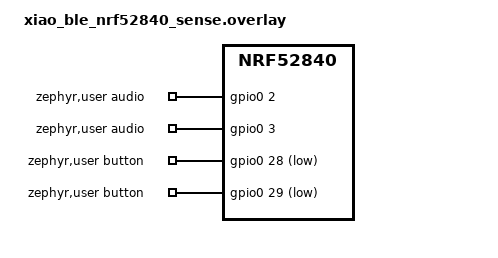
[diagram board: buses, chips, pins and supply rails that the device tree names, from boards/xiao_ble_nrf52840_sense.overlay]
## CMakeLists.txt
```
cmake_minimum_required(VERSION 3.20.0)

# Bluetooth link is on unless -DAT_BLE=OFF.
option(AT_BLE "Include the Bluetooth LE link" ON)
if(AT_BLE)
	list(APPEND EXTRA_CONF_FILE ${CMAKE_CURRENT_LIST_DIR}/ble.conf)
endif()

find_package(Zephyr REQUIRED HINTS $ENV{ZEPHYR_BASE})
project(audiotarget)

target_sources(app PRIVATE
	src/main.c
	src/audio.c
	src/buttons.c
	src/cues.c
	src/fusion.c
	src/imu.c
	src/link.c
	src/mount.c
	src/proto.c
	src/store.c
	src/tonemap.c
)
```

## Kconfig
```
mainmenu "AudioTarget gun module"

menu "AudioTarget"

config AT_LINK_UART
	bool "Wired UART link to the Pi"
	default y
	select SERIAL
	select UART_INTERRUPT_DRIVEN
	help
	  Line protocol over the UART named by the zephyr,user link-uart
	  property. Turn off if you only use Bluetooth: the UART receiver
	  keeps the high-frequency clock running.

config AT_LINK_BLE
	bool "Bluetooth LE link to the Pi (Nordic UART Service)"
	default y
	depends on BT_ZEPHYR_NUS && BT_SMP
	help
	  Encrypted, bonded NUS link. Only bonded devices may connect, except
	  during the pairing window.

config AT_PAIRING_WINDOW_S
	int "Pairing window length (seconds)"
	default 120

config AT_IMU_FWD_AXIS
	int "Sensor axis that points along the barrel (1=X 2=Y 3=Z, negative = reversed)"
	range -3 3
	default 1
	help
	  Default mounting until the audio-guided two-pose calibration has
	  been run (hold both buttons). Calibration overrides this.

config AT_IMU_UP_AXIS
	int "Sensor axis that points up (1=X 2=Y 3=Z, negative = reversed)"
	range -3 3
	default 3

config AT_BASE_NOTE_HZ
	int "Tone played when on target (Hz)"
	default 440

config AT_MDEG_PER_SEMITONE
	int "Vertical error per semitone (millidegrees)"
	range 10 2000
	default 100

config AT_QUANTIZE
	bool "Snap pitch to whole semitones"
	default y

config AT_LINK_LATENCY_MS
	int "Extra link latency added to the camera frame age (ms)"
	default 5
	help
	  Roughly 2-5 ms for UART, 10-30 ms for BLE depending on connection
	  interval.

config AT_IDLE_OFF_MIN
	int "Power off after this many minutes without movement (0 = never)"
	default 10

endmenu

source "Kconfig.zephyr"
```

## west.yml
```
# West manifest: `west init -l firmware && west update` fetches Zephyr and
# only the modules this firmware needs.
manifest:
  remotes:
    - name: zephyrproject-rtos
      url-base: https://github.com/zephyrproject-rtos
  projects:
    - name: zephyr
      remote: zephyrproject-rtos
      revision: v4.5.0
      import:
        name-allowlist:
          - cmsis
          - cmsis_6
          - hal_nordic
          - mbedtls
          - tf-psa-crypto
          - picolibc
```

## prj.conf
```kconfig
# --- core
CONFIG_FPU=y
CONFIG_MAIN_STACK_SIZE=3072
CONFIG_SYSTEM_WORKQUEUE_STACK_SIZE=2048
CONFIG_CBPRINTF_FP_SUPPORT=n
CONFIG_POWEROFF=y
# math functions (sinf, atan2f...) need a full C library
CONFIG_REQUIRES_FULL_LIBC=y

# --- hardware
CONFIG_GPIO=y
CONFIG_I2C=y
CONFIG_SENSOR=y
CONFIG_NRFX_PWM=y

# LSM6DS3TR-C (XIAO Sense): fixed ranges for best resolution, ODR set at runtime
CONFIG_LSM6DSL_ACCEL_FS=2
CONFIG_LSM6DSL_GYRO_FS=250

# --- persistent settings (zero, mount calibration, BLE bonds)
CONFIG_FLASH=y
CONFIG_FLASH_MAP=y
CONFIG_NVS=y
CONFIG_SETTINGS=y
CONFIG_SETTINGS_NVS=y

# --- logging over the USB-C port (only powered while plugged in)
CONFIG_LOG=y
CONFIG_LOG_DEFAULT_LEVEL=2
```

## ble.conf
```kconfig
# Bluetooth LE link to the Pi. Included by default; build with -DAT_BLE=OFF
# for a wired-only image.
CONFIG_BT=y
CONFIG_BT_PERIPHERAL=y
CONFIG_BT_DEVICE_NAME="AudioTarget"
CONFIG_BT_ZEPHYR_NUS=y
CONFIG_BT_SMP=y
CONFIG_BT_SMP_APP_PAIRING_ACCEPT=y
CONFIG_BT_SMP_SC_PAIR_ONLY=y
CONFIG_BT_BONDABLE=y
CONFIG_BT_SETTINGS=y
CONFIG_BT_MAX_CONN=1
CONFIG_BT_MAX_PAIRED=4
CONFIG_BT_KEYS_OVERWRITE_OLDEST=y
CONFIG_BT_PRIVACY=y
CONFIG_BT_L2CAP_TX_MTU=65
CONFIG_BT_BUF_ACL_RX_SIZE=69
CONFIG_BT_BUF_ACL_TX_SIZE=69
CONFIG_BT_GAP_AUTO_UPDATE_CONN_PARAMS=n
```

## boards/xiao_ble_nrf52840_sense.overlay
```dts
/*
 * Seeed XIAO nRF52840 Sense pin assignments.
 *
 *   D0 (P0.02)  audio left   -> RC filter -> headphone jack tip
 *   D1 (P0.03)  audio right  -> RC filter -> headphone jack ring
 *   D2 (P0.28)  ZERO button  -> GND
 *   D3 (P0.29)  MODE button  -> GND (also wakes from power-off)
 *   D6 (P1.11)  UART TX      -> Pi GPIO15 / RXD (header pin 10)
 *   D7 (P1.12)  UART RX      <- Pi GPIO14 / TXD (header pin 8)
 *
 * The IMU is the on-board LSM6DS3TR-C.
 */
#include <zephyr/dt-bindings/gpio/gpio.h>

/ {
	aliases {
		imu0 = &lsm6ds3tr_c;
	};

	zephyr,user {
		audio-gpios = <&gpio0 2 0>, <&gpio0 3 0>;
		button-gpios = <&gpio0 28 (GPIO_PULL_UP | GPIO_ACTIVE_LOW)>,
			       <&gpio0 29 (GPIO_PULL_UP | GPIO_ACTIVE_LOW)>;
		link-uart = <&uart0>;
	};
};

/* PWM1 is driven directly through nrfx for audio; keep Zephyr's driver off it. */
&pwm1 {
	status = "disabled";
};
```

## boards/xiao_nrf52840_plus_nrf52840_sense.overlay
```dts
/*
 * Seeed XIAO nRF52840 Sense Plus pin assignments (board target in Zephyr releases after 4.5:
 * xiao_nrf52840_plus/nrf52840/sense). Same pins as the regular Sense; on
 * Zephyr 4.5 just build for xiao_ble/nrf52840/sense, which runs on the Plus too.
 *
 *   D0 (P0.02)  audio left   -> RC filter -> headphone jack tip
 *   D1 (P0.03)  audio right  -> RC filter -> headphone jack ring
 *   D2 (P0.28)  ZERO button  -> GND
 *   D3 (P0.29)  MODE button  -> GND (also wakes from power-off)
 *   D6 (P1.11)  UART TX      -> Pi GPIO15 / RXD (header pin 10)
 *   D7 (P1.12)  UART RX      <- Pi GPIO14 / TXD (header pin 8)
 *
 * The IMU is the on-board LSM6DS3TR-C.
 */
#include <zephyr/dt-bindings/gpio/gpio.h>

/ {
	aliases {
		imu0 = &lsm6ds3tr_c;
	};

	zephyr,user {
		audio-gpios = <&gpio0 2 0>, <&gpio0 3 0>;
		button-gpios = <&gpio0 28 (GPIO_PULL_UP | GPIO_ACTIVE_LOW)>,
			       <&gpio0 29 (GPIO_PULL_UP | GPIO_ACTIVE_LOW)>;
		link-uart = <&uart0>;
	};
};

/* PWM1 is driven directly through nrfx for audio; keep Zephyr's driver off it. */
&pwm1 {
	status = "disabled";
};
```

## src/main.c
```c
/*
 * AudioTarget gun module: control loop.
 *
 * 100 Hz: read IMU -> fuse with camera samples -> map to tone -> play on the
 * wired output and/or forward to the Pi for Bluetooth playback.
 */
#include <math.h>
#include <string.h>

#include <zephyr/kernel.h>
#include <zephyr/logging/log.h>
#include <zephyr/settings/settings.h>
#include <zephyr/sys/poweroff.h>

#include "audio.h"
#include "buttons.h"
#include "cues.h"
#include "events.h"
#include "fusion.h"
#include "imu.h"
#include "link.h"
#include "mount.h"
#include "proto.h"
#include "store.h"
#include "tonemap.h"

LOG_MODULE_REGISTER(main, LOG_LEVEL_INF);

#define TICK_MS 10
#define TONE_TX_EVERY 4    /* 25 Hz tone updates to the Pi */
#define HELLO_EVERY_MS 2000
#define CAL_TIMEOUT_MS 30000
#define CAL_SETTLE_MS 1500
#define CAL_SAMPLES 100
#define CAL_STILL_RAD_S 0.05f
#define CAL_MIN_RAISE_COS 0.866f /* 30 degrees */

#define ROUTE_WIRED 0x1
#define ROUTE_BT 0x2

K_MSGQ_DEFINE(app_q, sizeof(struct app_evt), 24, 4);

void app_post(const struct app_evt *evt)
{
	(void)k_msgq_put(&app_q, evt, K_NO_WAIT);
}

static const float vol_levels[4] = {0.12f, 0.25f, 0.5f, 1.0f};

enum cal_state { CAL_IDLE, CAL_LEVEL, CAL_RAISED };

static struct {
	enum cal_state state;
	uint32_t started;
	uint32_t step_t0;
	float sum[3];
	int n;
	float level[3];
} cal;

static struct fusion fus;
static struct fusion_cfg fcfg;
static struct mount mnt;
static struct tonemap_cfg tcfg;
static bool muted;
static uint32_t last_activity;

static void send_line(const char *buf, int n)
{
	if (n > 0) {
		link_send(buf, (size_t)n);
	}
}

static void send_status(void)
{
	char buf[PROTO_MAX_LINE];

	send_line(buf, proto_fmt_hello(buf, sizeof(buf)));
	send_line(buf, proto_fmt_route(buf, sizeof(buf), g_store.route));
}

static void reset_tilt(void)
{
	struct fusion_zero keep = fus.zero;

	fusion_init(&fus, &fcfg);
	fus.zero = keep;
	fus.zero.tilt_valid = false; /* tilt zero belongs to the old mount */
}

static void handle_line(const struct app_evt *evt, uint32_t now)
{
	struct proto_msg m;

	if (proto_parse(evt->line, &m) != 0) {
		LOG_DBG("bad line from %u", evt->src);
		return;
	}
	switch (m.type) {
	case PROTO_CAM:
		fusion_cam_update(&fus, m.az_mdeg, m.el_mdeg, m.age_ms, now);
		break;
	case PROTO_HELLO:
	case PROTO_NOTARGET:
		fusion_pi_alive(&fus, now);
		break;
	default:
		break;
	}
}

static void handle_btn(enum btn_evt b, uint32_t now)
{
	char buf[PROTO_MAX_LINE];

	last_activity = now;
	switch (b) {
	case BTN_ZERO_SHORT: {
		unsigned int bits = fusion_zero(&fus, now);

		if (bits == 0) {
			cue_play(CUE_ERROR, now);
			break;
		}
		store_save_zero(&fus.zero);
		cue_play((bits & FUSION_ZERO_CAM) ? CUE_ZERO_CAM : CUE_ZERO_TILT, now);
		send_line(buf, proto_fmt_zero(buf, sizeof(buf), bits & FUSION_ZERO_CAM));
		break;
	}
	case BTN_ZERO_LONG:
		store_save_volume((g_store.volume + 1) % ARRAY_SIZE(vol_levels));
		cue_play(CUE_VOLUME, now);
		break;
	case BTN_ZERO_VLONG:
		fusion_clear_zero(&fus);
		store_save_zero(&fus.zero);
		cue_play(CUE_ZERO_CLEARED, now);
		break;
	case BTN_MODE_SHORT:
		muted = !muted;
		cue_play(muted ? CUE_MUTE_ON : CUE_MUTE_OFF, now);
		break;
	case BTN_MODE_LONG:
		store_save_route(g_store.route % 3 + 1);
		cue_play(CUE_ROUTE_1 + g_store.route - 1, now);
		send_line(buf, proto_fmt_route(buf, sizeof(buf), g_store.route));
		break;
	case BTN_MODE_VLONG:
		if (IS_ENABLED(CONFIG_AT_LINK_BLE)) {
			link_pairing_open(CONFIG_AT_PAIRING_WINDOW_S);
			cue_play(CUE_PAIRING, now);
		} else {
			cue_play(CUE_ERROR, now);
		}
		break;
	case BTN_BOTH_VLONG:
		memset(&cal, 0, sizeof(cal));
		cal.state = CAL_LEVEL;
		cal.started = now;
		cal.step_t0 = now;
		cue_play(CUE_CAL_STEP1, now);
		break;
	case BTN_TICK:
		cue_play(CUE_TICK, now);
		break;
	}
}

static void handle_event(const struct app_evt *evt, uint32_t now)
{
	switch (evt->type) {
	case EVT_LINE:
		handle_line(evt, now);
		break;
	case EVT_BTN:
		handle_btn((enum btn_evt)evt->btn, now);
		break;
	case EVT_BLE_SECURED:
		cue_play(CUE_BLE_UP, now);
		send_status();
		break;
	case EVT_BLE_DISCONNECTED:
		cue_play(CUE_BLE_DOWN, now);
		break;
	default:
		break;
	}
}

static float norm3(const float v[3])
{
	return sqrtf(v[0] * v[0] + v[1] * v[1] + v[2] * v[2]);
}

/* Audio-guided two-pose mount calibration. Uses raw sensor-frame readings. */
static void cal_update(const float acc[3], const float gyro[3], uint32_t now)
{
	bool still = norm3(gyro) < CAL_STILL_RAD_S;

	if (now - cal.started > CAL_TIMEOUT_MS) {
		cal.state = CAL_IDLE;
		cue_play(CUE_ERROR, now);
		return;
	}
	if (now - cal.step_t0 < CAL_SETTLE_MS) {
		return;
	}
	if (cal.state == CAL_RAISED) {
		float c = (acc[0] * cal.level[0] + acc[1] * cal.level[1] + acc[2] * cal.level[2]) /
			  (norm3(acc) * norm3(cal.level) + 1e-6f);

		still = still && c < CAL_MIN_RAISE_COS;
	}
	if (!still) {
		cal.n = 0;
		memset(cal.sum, 0, sizeof(cal.sum));
		return;
	}
	for (int i = 0; i < 3; i++) {
		cal.sum[i] += acc[i];
	}
	if (++cal.n < CAL_SAMPLES) {
		return;
	}

	float avg[3] = {cal.sum[0] / cal.n, cal.sum[1] / cal.n, cal.sum[2] / cal.n};

	if (cal.state == CAL_LEVEL) {
		memcpy(cal.level, avg, sizeof(avg));
		cal.state = CAL_RAISED;
		cal.step_t0 = now;
		cal.n = 0;
		memset(cal.sum, 0, sizeof(cal.sum));
		cue_play(CUE_CAL_STEP2, now);
		return;
	}

	struct mount m;

	cal.state = CAL_IDLE;
	if (mount_from_poses(&m, cal.level, avg) == 0) {
		mnt = m;
		store_save_mount(&m);
		reset_tilt();
		store_save_zero(&fus.zero);
		cue_play(CUE_CAL_OK, now);
	} else {
		cue_play(CUE_ERROR, now);
	}
}

static void output(uint32_t now, uint32_t tick)
{
	struct tone t = {.freq_hz = 440.0f};
	uint16_t cue_hz;
	float vol = vol_levels[g_store.volume % ARRAY_SIZE(vol_levels)];

	if (cue_current(now, &cue_hz)) {
		t.freq_hz = cue_hz ? cue_hz : 440.0f;
		t.gain_l = t.gain_r = cue_hz ? vol : 0.0f;
		t.flags = 0;
	} else if (muted || cal.state != CAL_IDLE) {
		t.gain_l = t.gain_r = 0.0f;
	} else {
		struct tonemap_in in;

		fusion_output(&fus, now, &in);
		tonemap_compute(&tcfg, &in, &t);
		t.gain_l *= vol;
		t.gain_r *= vol;
	}

	/* Bluetooth route needs the Pi; fall back to the wire if it's gone. */
	bool bt = (g_store.route & ROUTE_BT) && fusion_pi_present(&fus, now);
	bool wired = (g_store.route & ROUTE_WIRED) || !bt;

	if (wired) {
		audio_set(t.freq_hz, t.gain_l, t.gain_r, t.flags);
	} else {
		audio_set(t.freq_hz, 0.0f, 0.0f, 0);
	}
	if (bt && (tick % TONE_TX_EVERY) == 0) {
		char buf[PROTO_MAX_LINE];

		send_line(buf, proto_fmt_tone(buf, sizeof(buf), (uint32_t)lroundf(t.freq_hz * 10.0f),
					      (unsigned int)lroundf(t.gain_l * 100.0f),
					      (unsigned int)lroundf(t.gain_r * 100.0f), t.flags));
	}
	audio_poll();
}

static void power_off(void)
{
	uint32_t t0 = k_uptime_get_32();
	uint16_t hz;

	LOG_INF("idle: powering off");
	cue_play(CUE_POWEROFF, t0);
	while (cue_current(k_uptime_get_32(), &hz)) {
		audio_set(hz ? hz : 440.0f, hz ? 0.5f : 0.0f, hz ? 0.5f : 0.0f, 0);
		k_msleep(TICK_MS);
	}
	audio_shutdown();
	imu_suspend();
	link_suspend();
	k_msleep(100);
	while (buttons_any_pressed()) {
		k_msleep(TICK_MS); /* a held wake button would wake us at once */
	}
	if (buttons_arm_wakeup() == 0) {
		sys_poweroff();
	}
	LOG_ERR("could not arm wake button; staying on");
}

int main(void)
{
	float raw_acc[3], raw_gyro[3], acc[3], gyro[3];
	uint32_t last_cyc, tick = 0, last_hello = 0, imu_errs = 0;
	struct app_evt evt;
	int err;

	err = store_init();
	if (err) {
		LOG_ERR("settings init: %d", err);
	}
	err = link_init();
	if (err) {
		LOG_ERR("link init: %d", err);
	}
	(void)settings_load();
	link_start();
	if (IS_ENABLED(CONFIG_AT_LINK_BLE) && link_bond_count() == 0) {
		/* First boot: let the Pi pair without any button gymnastics. */
		link_pairing_open(CONFIG_AT_PAIRING_WINDOW_S);
	}

	tonemap_default_cfg(&tcfg);
	tcfg.base_hz = (float)CONFIG_AT_BASE_NOTE_HZ;
	tcfg.mdeg_per_semitone = CONFIG_AT_MDEG_PER_SEMITONE;
	tcfg.quantize = IS_ENABLED(CONFIG_AT_QUANTIZE);

	fusion_default_cfg(&fcfg);
	fcfg.link_latency_ms = CONFIG_AT_LINK_LATENCY_MS;
	fusion_init(&fus, &fcfg);
	if (g_store.have_zero) {
		fus.zero = g_store.zero;
	}
	if (g_store.have_mount) {
		mnt = g_store.mount;
	} else if (mount_from_axes(&mnt, CONFIG_AT_IMU_FWD_AXIS, CONFIG_AT_IMU_UP_AXIS)) {
		LOG_ERR("bad AT_IMU_*_AXIS config; using +X forward, +Z up");
		(void)mount_from_axes(&mnt, 1, 3);
	}

	if (audio_init() || imu_init() || buttons_init()) {
		LOG_ERR("hardware init failed");
	}

	uint32_t now = k_uptime_get_32();

	last_activity = now;
	cue_play(CUE_BOOT, now);
	last_cyc = k_cycle_get_32();

	struct k_timer timer;

	k_timer_init(&timer, NULL, NULL);
	k_timer_start(&timer, K_MSEC(TICK_MS), K_MSEC(TICK_MS));

	while (true) {
		k_timer_status_sync(&timer);
		now = k_uptime_get_32();
		tick++;

		while (k_msgq_get(&app_q, &evt, K_NO_WAIT) == 0) {
			handle_event(&evt, now);
		}

		uint32_t cyc = k_cycle_get_32();
		float dt = (float)(cyc - last_cyc) / (float)sys_clock_hw_cycles_per_sec();

		last_cyc = cyc;
		if (imu_read(raw_acc, raw_gyro) == 0) {
			imu_errs = 0;
			mount_apply(&mnt, raw_acc, acc);
			mount_apply(&mnt, raw_gyro, gyro);
			fusion_imu_update(&fus, acc, gyro, now, dt);
			if (cal.state != CAL_IDLE) {
				cal_update(raw_acc, raw_gyro, now);
			}
		} else if (++imu_errs == 50) {
			cue_play(CUE_ERROR, now);
		}

		output(now, tick);

		if (now - last_hello >= HELLO_EVERY_MS) {
			last_hello = now;
			send_status();
		}

		if (!fusion_is_still(&fus, 1)) {
			last_activity = now;
		}
		if (CONFIG_AT_IDLE_OFF_MIN > 0 &&
		    now - last_activity > (uint32_t)CONFIG_AT_IDLE_OFF_MIN * 60000U) {
			power_off();
			last_activity = k_uptime_get_32();
		}
	}
	return 0;
}
```

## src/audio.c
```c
#include "audio.h"
#include "proto.h"

#include <math.h>
#include <string.h>

#include <zephyr/devicetree.h>
#include <zephyr/irq.h>
#include <zephyr/kernel.h>
#include <zephyr/logging/log.h>
#include <zephyr/sys/util.h>

#include <hal/nrf_gpio.h>
#include <nrfx_pwm.h>

LOG_MODULE_REGISTER(audio, LOG_LEVEL_INF);

#define USER_NODE DT_PATH(zephyr_user)
#define AUDIO_PIN(i)                                                                           \
	NRF_GPIO_PIN_MAP(DT_PROP(DT_GPIO_CTLR_BY_IDX(USER_NODE, audio_gpios, i), port),         \
			 DT_GPIO_PIN_BY_IDX(USER_NODE, audio_gpios, i))

BUILD_ASSERT(DT_PROP_LEN(USER_NODE, audio_gpios) == 2,
	     "zephyr,user audio-gpios needs exactly two pins: left, right");

/* 16 MHz / 500 = 32 kHz sample rate, ~9 bit resolution. */
#define PWM_TOP 500
#define SAMPLE_RATE 32000
#define MID (PWM_TOP / 2)
#define AMP_MAX (MID - 2)
#define HALF_LEN 256 /* samples per half buffer = 8 ms */
#define POLARITY BIT(15)

#define SINE_BITS 8
#define SINE_LEN (1 << SINE_BITS)

/* Ramp the DC midpoint over ~100 ms on start/stop to avoid pops. */
#define MID_STEP_PER_BUF (MID / 12 + 1)
#define IDLE_STOP_MS 300

static nrfx_pwm_t pwm = NRFX_PWM_INSTANCE(NRF_PWM1);
static nrf_pwm_values_grouped_t bufs[2][HALF_LEN];
static int16_t sine[SINE_LEN];

struct params {
	uint32_t phase_inc;
	int32_t gl; /* Q15 */
	int32_t gr;
	uint8_t flags;
};

static struct k_spinlock lock;
static struct params target;

/* ISR-owned synthesis state */
static uint32_t phase;
static int32_t cur_gl, cur_gr, cur_mid;
static uint32_t sample_clock;
static volatile bool stopping;
static volatile bool ramp_done;

static bool running;
static int64_t silent_since;

static bool gate_on(uint8_t flags, uint32_t t_ms)
{
	bool on = true;

	if (flags & TONE_FLAG_CANT) {
		on = on && ((t_ms / 62) & 1) == 0; /* 8 Hz flutter */
	}
	if (flags & TONE_FLAG_LOST) {
		on = on && (t_ms % 500) < 150; /* 2 Hz beeps */
	}
	return on;
}

static void fill(nrf_pwm_values_grouped_t *dst)
{
	struct params p;
	k_spinlock_key_t key = k_spin_lock(&lock);

	p = target;
	k_spin_unlock(&lock, key);

	uint32_t t_ms = (uint32_t)(((uint64_t)sample_clock * 1000U) / SAMPLE_RATE);
	bool gate = gate_on(p.flags, t_ms);
	int32_t tgt_l = (gate && !stopping) ? p.gl : 0;
	int32_t tgt_r = (gate && !stopping) ? p.gr : 0;
	int32_t tgt_mid = stopping ? 0 : MID;
	int32_t mid0 = cur_mid;
	int32_t mid1 = mid0 + CLAMP(tgt_mid - mid0, -MID_STEP_PER_BUF, MID_STEP_PER_BUF);

	for (int i = 0; i < HALF_LEN; i++) {
		int32_t gl = cur_gl + ((tgt_l - cur_gl) * i) / HALF_LEN;
		int32_t gr = cur_gr + ((tgt_r - cur_gr) * i) / HALF_LEN;
		int32_t mid = mid0 + ((mid1 - mid0) * i) / HALF_LEN;
		/* Amplitude can't exceed the current midpoint while ramping. */
		int32_t amp = (AMP_MAX * mid) / MID;
		int32_t s = sine[phase >> (32 - SINE_BITS)];
		int32_t l = mid + (((s * gl) >> 15) * amp >> 15);
		int32_t r = mid + (((s * gr) >> 15) * amp >> 15);

		phase += p.phase_inc;
		dst[i].group_0 = (uint16_t)CLAMP(l, 0, PWM_TOP) | POLARITY;
		dst[i].group_1 = (uint16_t)CLAMP(r, 0, PWM_TOP) | POLARITY;
	}
	cur_gl = tgt_l;
	cur_gr = tgt_r;
	cur_mid = mid1;
	sample_clock += HALF_LEN;
	if (stopping && cur_mid == 0) {
		ramp_done = true;
	}
}

static void pwm_handler(nrfx_pwm_event_type_t ev, void *ctx)
{
	ARG_UNUSED(ctx);

	if (ev == NRFX_PWM_EVENT_END_SEQ0) {
		fill(bufs[0]);
	} else if (ev == NRFX_PWM_EVENT_END_SEQ1) {
		fill(bufs[1]);
	}
}

int audio_init(void)
{
	nrfx_pwm_config_t cfg = {
		.output_pins = {AUDIO_PIN(0), NRF_PWM_PIN_NOT_CONNECTED, AUDIO_PIN(1),
				NRF_PWM_PIN_NOT_CONNECTED},
		.irq_priority = 2,
		.base_clock = NRF_PWM_CLK_16MHz,
		.count_mode = NRF_PWM_MODE_UP,
		.top_value = PWM_TOP,
		.load_mode = NRF_PWM_LOAD_GROUPED,
		.step_mode = NRF_PWM_STEP_AUTO,
	};
	int err;

	for (int i = 0; i < SINE_LEN; i++) {
		sine[i] = (int16_t)lrintf(32767.0f * sinf(6.28318531f * (float)i / SINE_LEN));
	}

	IRQ_CONNECT(PWM1_IRQn, 2, nrfx_pwm_irq_handler, &pwm, 0);
	err = nrfx_pwm_init(&pwm, &cfg, pwm_handler, NULL);
	if (err < 0) {
		LOG_ERR("PWM init failed: %d", err);
		return err;
	}
	silent_since = k_uptime_get();
	return 0;
}

static void start(void)
{
	static const nrf_pwm_sequence_t seq0 = {
		.values.p_grouped = bufs[0],
		.length = HALF_LEN * 2,
	};
	static const nrf_pwm_sequence_t seq1 = {
		.values.p_grouped = bufs[1],
		.length = HALF_LEN * 2,
	};

	stopping = false;
	ramp_done = false;
	cur_gl = 0;
	cur_gr = 0;
	cur_mid = 0;
	fill(bufs[0]);
	fill(bufs[1]);
	nrfx_pwm_complex_playback(&pwm, &seq0, &seq1, 1,
				  NRFX_PWM_FLAG_LOOP | NRFX_PWM_FLAG_SIGNAL_END_SEQ0 |
					  NRFX_PWM_FLAG_SIGNAL_END_SEQ1 |
					  NRFX_PWM_FLAG_NO_EVT_FINISHED);
	running = true;
}

void audio_set(float freq_hz, float gain_l, float gain_r, uint8_t flags)
{
	struct params p;

	freq_hz = CLAMP(freq_hz, 20.0f, 8000.0f);
	p.phase_inc = (uint32_t)(freq_hz * (4294967296.0f / SAMPLE_RATE));
	p.gl = (int32_t)(CLAMP(gain_l, 0.0f, 1.0f) * 32767.0f);
	p.gr = (int32_t)(CLAMP(gain_r, 0.0f, 1.0f) * 32767.0f);
	p.flags = flags;

	k_spinlock_key_t key = k_spin_lock(&lock);

	target = p;
	k_spin_unlock(&lock, key);

	if (p.gl > 0 || p.gr > 0) {
		silent_since = -1;
		if (!running) {
			start();
		} else if (stopping) {
			stopping = false; /* ramp back up instead of stopping */
			ramp_done = false;
		}
	} else if (silent_since < 0) {
		silent_since = k_uptime_get();
	}
}

void audio_poll(void)
{
	if (!running) {
		return;
	}
	if (!stopping && silent_since >= 0 && k_uptime_get() - silent_since > IDLE_STOP_MS) {
		stopping = true;
	}
	if (stopping && ramp_done) {
		nrfx_pwm_stop(&pwm, true);
		running = false;
		stopping = false;
		ramp_done = false;
	}
}

void audio_shutdown(void)
{
	if (running) {
		nrfx_pwm_stop(&pwm, true);
		running = false;
	}
}
```

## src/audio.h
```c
/*
 * Stereo sine synthesis on two GPIOs using the nRF52 PWM peripheral with
 * EasyDMA double buffering. Filter each pin with an RC low-pass and a DC
 * blocking capacitor before the headphone jack (see docs/wiring.md).
 */
#ifndef AUDIOTARGET_AUDIO_H_
#define AUDIOTARGET_AUDIO_H_

#include <stdbool.h>
#include <stdint.h>

int audio_init(void);

/* Set the tone. Gains 0..1 already include volume. Safe from thread context. */
void audio_set(float freq_hz, float gain_l, float gain_r, uint8_t flags);

/* Call periodically from a thread: stops the peripheral after a period of
 * silence so the high-frequency clock can turn off. */
void audio_poll(void);

/* Stop immediately (before power-off). */
void audio_shutdown(void);

#endif
```

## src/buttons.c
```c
/*
 * Two buttons, polled every 20 ms while either is held (interrupt starts the
 * polling, so nothing runs while idle).
 *
 *   short  (< 0.7 s)
 *   long   (0.7 - 2.5 s)
 *   vlong  (>= 2.5 s)
 *   both held >= 2.5 s: separate gesture, individual events suppressed
 *
 * A tick event fires as each threshold is crossed so the user can hear
 * which gesture they're about to release.
 */
#include "buttons.h"
#include "events.h"

#include <zephyr/drivers/gpio.h>
#include <zephyr/kernel.h>
#include <zephyr/logging/log.h>

LOG_MODULE_REGISTER(buttons, LOG_LEVEL_INF);

#define USER_NODE DT_PATH(zephyr_user)
BUILD_ASSERT(DT_PROP_LEN(USER_NODE, button_gpios) == 2,
	     "zephyr,user button-gpios needs two entries: zero, mode");

#define POLL_MS 20
#define LONG_MS 700
#define VLONG_MS 2500

enum { B_ZERO, B_MODE, B_COUNT };

static const struct gpio_dt_spec btns[B_COUNT] = {
	GPIO_DT_SPEC_GET_BY_IDX(USER_NODE, button_gpios, 0),
	GPIO_DT_SPEC_GET_BY_IDX(USER_NODE, button_gpios, 1),
};

static struct gpio_callback cbs[B_COUNT];
static struct k_work_delayable poll_work;

struct bstate {
	bool down;
	int64_t since;
	uint8_t ticks; /* thresholds already signalled */
};

static struct bstate st[B_COUNT];
static bool both_gesture;
static int64_t both_since;
static uint8_t both_ticks;

static void post_btn(enum btn_evt e)
{
	struct app_evt evt = {.type = EVT_BTN, .btn = e};

	app_post(&evt);
}

static void tick_check(int64_t held, uint8_t *ticks, bool allow_long)
{
	if (allow_long && held >= LONG_MS && *ticks == 0) {
		*ticks = 1;
		post_btn(BTN_TICK);
	}
	if (held >= VLONG_MS && *ticks < 2) {
		*ticks = 2;
		post_btn(BTN_TICK);
	}
}

static void classify(int which, int64_t held)
{
	static const enum btn_evt map[B_COUNT][3] = {
		{BTN_ZERO_SHORT, BTN_ZERO_LONG, BTN_ZERO_VLONG},
		{BTN_MODE_SHORT, BTN_MODE_LONG, BTN_MODE_VLONG},
	};
	int idx = held >= VLONG_MS ? 2 : (held >= LONG_MS ? 1 : 0);

	post_btn(map[which][idx]);
}

static void poll_fn(struct k_work *work)
{
	int64_t now = k_uptime_get();
	bool any = false;

	ARG_UNUSED(work);

	for (int i = 0; i < B_COUNT; i++) {
		bool down = gpio_pin_get_dt(&btns[i]) > 0;

		if (down && !st[i].down) {
			st[i].down = true;
			st[i].since = now;
			st[i].ticks = 0;
		} else if (!down && st[i].down) {
			st[i].down = false;
			if (!both_gesture) {
				classify(i, now - st[i].since);
			}
		}
		any |= st[i].down;
	}

	if (st[B_ZERO].down && st[B_MODE].down && !both_gesture) {
		both_gesture = true;
		both_since = now;
		both_ticks = 0;
	}

	if (both_gesture) {
		if (st[B_ZERO].down && st[B_MODE].down) {
			tick_check(now - both_since, &both_ticks, false);
		} else if (!any) {
			if (both_ticks >= 2) {
				post_btn(BTN_BOTH_VLONG);
			}
			both_gesture = false;
		}
	} else {
		for (int i = 0; i < B_COUNT; i++) {
			if (st[i].down) {
				tick_check(now - st[i].since, &st[i].ticks, true);
			}
		}
	}

	if (any) {
		k_work_reschedule(&poll_work, K_MSEC(POLL_MS));
	}
}

static void edge_cb(const struct device *dev, struct gpio_callback *cb, uint32_t pins)
{
	ARG_UNUSED(dev);
	ARG_UNUSED(cb);
	ARG_UNUSED(pins);
	/* Debounce: first poll happens one interval after the edge. */
	k_work_schedule(&poll_work, K_MSEC(POLL_MS));
}

int buttons_init(void)
{
	k_work_init_delayable(&poll_work, poll_fn);

	for (int i = 0; i < B_COUNT; i++) {
		int err;

		if (!gpio_is_ready_dt(&btns[i])) {
			return -ENODEV;
		}
		err = gpio_pin_configure_dt(&btns[i], GPIO_INPUT);
		if (err == 0) {
			err = gpio_pin_interrupt_configure_dt(&btns[i], GPIO_INT_EDGE_TO_ACTIVE);
		}
		if (err) {
			LOG_ERR("button %d config failed: %d", i, err);
			return err;
		}
		gpio_init_callback(&cbs[i], edge_cb, BIT(btns[i].pin));
		gpio_add_callback_dt(&btns[i], &cbs[i]);
	}
	return 0;
}

bool buttons_any_pressed(void)
{
	for (int i = 0; i < B_COUNT; i++) {
		if (gpio_pin_get_dt(&btns[i]) > 0) {
			return true;
		}
	}
	return false;
}

int buttons_arm_wakeup(void)
{
	return gpio_pin_interrupt_configure_dt(&btns[B_MODE], GPIO_INT_LEVEL_ACTIVE);
}
```

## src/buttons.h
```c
#ifndef AUDIOTARGET_BUTTONS_H_
#define AUDIOTARGET_BUTTONS_H_

#include <stdbool.h>

int buttons_init(void);
bool buttons_any_pressed(void);
/* Configure the mode button as the System OFF wake source. */
int buttons_arm_wakeup(void);

#endif
```

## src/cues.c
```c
#include "cues.h"

#include <stddef.h>

#define END {0, 0}

/* Note frequencies (equal temperament, A4 = 440). */
#define C5 523
#define E5 659
#define G5 784
#define A4 440
#define E4 330
#define A5 880
#define D6 1175
#define E6 1319
#define A6 1760

static const struct note boot[] = {{C5, 90}, {E5, 90}, {G5, 140}, END};
static const struct note zero_cam[] = {{A5, 90}, {0, 40}, {D6, 160}, END};
static const struct note zero_tilt[] = {{A5, 160}, END};
static const struct note zero_cleared[] = {{A5, 90}, {0, 40}, {A4, 200}, END};
static const struct note mute_on[] = {{E5, 80}, {A4, 160}, END};
static const struct note mute_off[] = {{A4, 80}, {E5, 160}, END};
static const struct note route1[] = {{1000, 80}, END};
static const struct note route2[] = {{1000, 80}, {0, 90}, {1000, 80}, END};
static const struct note route3[] = {{1000, 80}, {0, 90}, {1000, 80}, {0, 90}, {1000, 80}, END};
static const struct note volume[] = {{E5, 250}, END};
static const struct note tick[] = {{1500, 25}, END};
static const struct note pairing[] = {{1200, 60}, {0, 60}, {1200, 60}, {0, 60}, {1200, 60}, END};
static const struct note ble_up[] = {{E6, 60}, {A6, 80}, END};
static const struct note ble_down[] = {{A6, 60}, {E6, 80}, END};
static const struct note cal1[] = {{600, 400}, END};
static const struct note cal2[] = {{600, 150}, {0, 100}, {600, 150}, END};
static const struct note cal_ok[] = {{C5, 90}, {E5, 90}, {G5, 90}, {1047, 200}, END};
static const struct note error[] = {{220, 350}, END};
static const struct note poweroff[] = {{G5, 90}, {E5, 90}, {C5, 90}, {E4, 200}, END};

static const struct note *const cues[CUE_COUNT] = {
	[CUE_BOOT] = boot,
	[CUE_ZERO_CAM] = zero_cam,
	[CUE_ZERO_TILT] = zero_tilt,
	[CUE_ZERO_CLEARED] = zero_cleared,
	[CUE_MUTE_ON] = mute_on,
	[CUE_MUTE_OFF] = mute_off,
	[CUE_ROUTE_1] = route1,
	[CUE_ROUTE_2] = route2,
	[CUE_ROUTE_3] = route3,
	[CUE_VOLUME] = volume,
	[CUE_TICK] = tick,
	[CUE_PAIRING] = pairing,
	[CUE_BLE_UP] = ble_up,
	[CUE_BLE_DOWN] = ble_down,
	[CUE_CAL_STEP1] = cal1,
	[CUE_CAL_STEP2] = cal2,
	[CUE_CAL_OK] = cal_ok,
	[CUE_ERROR] = error,
	[CUE_POWEROFF] = poweroff,
};

static const struct note *active;
static uint32_t started;

void cue_play(enum cue_id id, uint32_t now_ms)
{
	if (id < CUE_COUNT) {
		active = cues[id];
		started = now_ms;
	}
}

bool cue_current(uint32_t now_ms, uint16_t *hz)
{
	uint32_t t;

	if (active == NULL) {
		return false;
	}
	t = now_ms - started;
	for (const struct note *n = active; n->ms != 0; n++) {
		if (t < n->ms) {
			*hz = n->hz;
			return true;
		}
		t -= n->ms;
	}
	active = NULL;
	return false;
}
```

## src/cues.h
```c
/* Short audible status cues (there is no screen). See docs/sounds.md. */
#ifndef AUDIOTARGET_CUES_H_
#define AUDIOTARGET_CUES_H_

#include <stdbool.h>
#include <stdint.h>

struct note {
	uint16_t hz; /* 0 = rest */
	uint16_t ms;
};

enum cue_id {
	CUE_BOOT,
	CUE_ZERO_CAM,
	CUE_ZERO_TILT,
	CUE_ZERO_CLEARED,
	CUE_MUTE_ON,
	CUE_MUTE_OFF,
	CUE_ROUTE_1,
	CUE_ROUTE_2,
	CUE_ROUTE_3,
	CUE_VOLUME,
	CUE_TICK,
	CUE_PAIRING,
	CUE_BLE_UP,
	CUE_BLE_DOWN,
	CUE_CAL_STEP1,
	CUE_CAL_STEP2,
	CUE_CAL_OK,
	CUE_ERROR,
	CUE_POWEROFF,
	CUE_COUNT,
};

void cue_play(enum cue_id id, uint32_t now_ms);
/* Returns true while a cue is playing, with the current note in *hz (0 = rest). */
bool cue_current(uint32_t now_ms, uint16_t *hz);

#endif
```

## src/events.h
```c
/* Events posted to the main control thread from ISRs, workqueues and BT. */
#ifndef AUDIOTARGET_EVENTS_H_
#define AUDIOTARGET_EVENTS_H_

#include <stdint.h>

#include "proto.h"

enum app_evt_type {
	EVT_LINE,          /* a complete protocol line from a link */
	EVT_BTN,           /* data.btn = enum btn_evt */
	EVT_BLE_SECURED,   /* encrypted connection up */
	EVT_BLE_DISCONNECTED,
	EVT_BLE_PAIRED,
	EVT_BLE_REJECTED,  /* unknown device tried to connect outside pairing window */
};

enum link_src {
	SRC_UART = 1,
	SRC_BLE = 2,
};

enum btn_evt {
	BTN_ZERO_SHORT,
	BTN_ZERO_LONG,
	BTN_ZERO_VLONG,
	BTN_MODE_SHORT,
	BTN_MODE_LONG,
	BTN_MODE_VLONG,
	BTN_BOTH_VLONG,
	BTN_TICK, /* a hold threshold was crossed (audible feedback) */
};

struct app_evt {
	uint8_t type;
	uint8_t src;
	uint8_t btn;
	char line[PROTO_MAX_LINE];
};

/* Non-blocking, ISR-safe. Drops the event if the queue is full. */
void app_post(const struct app_evt *evt);

#endif
```

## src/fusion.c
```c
#include "fusion.h"

#include <math.h>
#include <string.h>

#define RAD_TO_MDEG 57295.7795f
#define GRAVITY 9.80665f

void fusion_default_cfg(struct fusion_cfg *cfg)
{
	cfg->tilt_alpha = 0.98f;
	cfg->cam_gain = 0.5f;
	cfg->cam_timeout_ms = 300;
	cfg->pi_timeout_ms = 2500;
	cfg->link_latency_ms = 5;
	cfg->bias_rate = 0.002f;
	cfg->still_rad_s = 0.01f;
}

void fusion_init(struct fusion *f, const struct fusion_cfg *cfg)
{
	memset(f, 0, sizeof(*f));
	f->cfg = *cfg;
}

static void hist_push(struct fusion *f, uint32_t now_ms)
{
	struct fusion_hist *h = &f->hist[f->hist_head];

	h->t_ms = now_ms;
	h->i_el = f->i_el;
	h->i_az = f->i_az;
	f->hist_head = (f->hist_head + 1) % FUSION_HIST_LEN;
	if (f->hist_count < FUSION_HIST_LEN) {
		f->hist_count++;
	}
}

/* Newest history entry at or before t_ms (oldest available if none). */
static const struct fusion_hist *hist_at(const struct fusion *f, uint32_t now_ms, uint32_t t_ms)
{
	const struct fusion_hist *best = NULL;
	uint32_t want_age = now_ms - t_ms;

	for (unsigned int i = 1; i <= f->hist_count; i++) {
		unsigned int idx = (f->hist_head + FUSION_HIST_LEN - i) % FUSION_HIST_LEN;
		const struct fusion_hist *h = &f->hist[idx];

		best = h;
		if ((uint32_t)(now_ms - h->t_ms) >= want_age) {
			break;
		}
	}
	return best;
}

void fusion_imu_update(struct fusion *f, const float acc[3], const float gyro[3],
		       uint32_t now_ms, float dt_s)
{
	float g[3];
	float gnorm, anorm;

	if (dt_s <= 0.0f || dt_s > 0.1f) {
		dt_s = 0.01f; /* first sample or a hiccup; don't integrate garbage */
	}

	for (int i = 0; i < 3; i++) {
		g[i] = gyro[i] - f->gyro_bias[i];
	}
	anorm = sqrtf(acc[0] * acc[0] + acc[1] * acc[1] + acc[2] * acc[2]);

	/*
	 * Stillness is judged by how much the gyro wobbles around its own short-term
	 * average, so it works before the bias is known (zero-rate offsets on cheap
	 * IMUs can be several deg/s).
	 */
	float dev2 = 0.0f, lp_bias2 = 0.0f;

	for (int i = 0; i < 3; i++) {
		f->gyro_lp[i] += 0.05f * (gyro[i] - f->gyro_lp[i]);
		dev2 += (gyro[i] - f->gyro_lp[i]) * (gyro[i] - f->gyro_lp[i]);
		lp_bias2 += (f->gyro_lp[i] - f->gyro_bias[i]) * (f->gyro_lp[i] - f->gyro_bias[i]);
	}
	gnorm = sqrtf(dev2);

	if (gnorm < f->cfg.still_rad_s && fabsf(anorm - GRAVITY) < 0.5f &&
	    lp_bias2 < 0.25f * 0.25f) {
		f->still_ms += (uint32_t)(dt_s * 1000.0f);
	} else {
		f->still_ms = 0;
	}
	if (f->still_ms > 500) {
		/* Learn fast until the first good fix, then slowly track drift. */
		float rate = f->bias_locked ? f->cfg.bias_rate : 0.05f;

		for (int i = 0; i < 3; i++) {
			f->gyro_bias[i] += rate * (f->gyro_lp[i] - f->gyro_bias[i]);
		}
		if (f->still_ms > 2500) {
			f->bias_locked = true;
		}
	}

	/* Gun-frame rates in mdeg/s. +y is left, so +wy tips the muzzle down. */
	float pitch_up_rate = -g[1] * RAD_TO_MDEG;
	float yaw_right_rate = -g[2] * RAD_TO_MDEG;
	float cant_rate = g[0] * RAD_TO_MDEG;

	float acc_pitch = atan2f(acc[0], sqrtf(acc[1] * acc[1] + acc[2] * acc[2])) * RAD_TO_MDEG;
	float acc_cant = atan2f(acc[1], acc[2]) * RAD_TO_MDEG;

	if (!f->tilt_init) {
		f->pitch_mdeg = acc_pitch;
		f->cant_mdeg = acc_cant;
		f->tilt_init = true;
	} else {
		float a = f->cfg.tilt_alpha;

		f->pitch_mdeg = a * (f->pitch_mdeg + pitch_up_rate * dt_s) + (1.0f - a) * acc_pitch;
		f->cant_mdeg = a * (f->cant_mdeg + cant_rate * dt_s) + (1.0f - a) * acc_cant;
	}

	f->i_el += pitch_up_rate * dt_s;
	f->i_az += yaw_right_rate * dt_s;
	hist_push(f, now_ms);

	if (f->cam_tracking) {
		if ((uint32_t)(now_ms - f->last_cam_ms) > f->cfg.cam_timeout_ms) {
			f->cam_tracking = false;
		} else {
			f->est_el += pitch_up_rate * dt_s;
			f->est_az += yaw_right_rate * dt_s;
		}
	}
}

void fusion_pi_alive(struct fusion *f, uint32_t now_ms)
{
	f->pi_seen = true;
	f->last_pi_ms = now_ms;
}

void fusion_cam_update(struct fusion *f, int32_t az_mdeg, int32_t el_mdeg, uint32_t age_ms,
		       uint32_t now_ms)
{
	fusion_pi_alive(f, now_ms);
	f->last_cam_az = az_mdeg;
	f->last_cam_el = el_mdeg;

	/* Aim error as seen in the frame: target above the zero point = aiming low. */
	float meas_el = (float)(f->zero.cam_el0_mdeg - el_mdeg);
	float meas_az = (float)(f->zero.cam_az0_mdeg - az_mdeg);

	/* How far have we rotated since the frame was exposed? */
	float d_el = 0.0f, d_az = 0.0f;
	const struct fusion_hist *h =
		hist_at(f, now_ms, now_ms - age_ms - f->cfg.link_latency_ms);

	if (h != NULL) {
		d_el = f->i_el - h->i_el;
		d_az = f->i_az - h->i_az;
	}

	if (!f->cam_tracking) {
		f->est_el = meas_el + d_el;
		f->est_az = meas_az + d_az;
		f->cam_tracking = true;
	} else {
		f->est_el += f->cfg.cam_gain * (meas_el - (f->est_el - d_el));
		f->est_az += f->cfg.cam_gain * (meas_az - (f->est_az - d_az));
	}
	f->last_cam_ms = now_ms;
}

bool fusion_cam_active(const struct fusion *f, uint32_t now_ms)
{
	return f->cam_tracking && (uint32_t)(now_ms - f->last_cam_ms) <= f->cfg.cam_timeout_ms;
}

bool fusion_pi_present(const struct fusion *f, uint32_t now_ms)
{
	return f->pi_seen && (uint32_t)(now_ms - f->last_pi_ms) <= f->cfg.pi_timeout_ms;
}

bool fusion_is_still(const struct fusion *f, uint32_t min_ms)
{
	return f->still_ms >= min_ms;
}

unsigned int fusion_zero(struct fusion *f, uint32_t now_ms)
{
	unsigned int bits = 0;

	if (f->tilt_init) {
		f->zero.pitch0_mdeg = f->pitch_mdeg;
		f->zero.cant0_mdeg = f->cant_mdeg;
		f->zero.tilt_valid = true;
		bits |= FUSION_ZERO_TILT;
	}
	if (fusion_cam_active(f, now_ms)) {
		/* Shift the zero so the current estimated error becomes zero. */
		f->zero.cam_el0_mdeg -= (int32_t)lroundf(f->est_el);
		f->zero.cam_az0_mdeg -= (int32_t)lroundf(f->est_az);
		f->zero.cam_valid = true;
		f->est_el = 0.0f;
		f->est_az = 0.0f;
		bits |= FUSION_ZERO_CAM;
	}
	return bits;
}

void fusion_clear_zero(struct fusion *f)
{
	/* Re-base the running estimate so clearing doesn't cause a jump later. */
	f->est_el += (float)(0 - f->zero.cam_el0_mdeg);
	f->est_az += (float)(0 - f->zero.cam_az0_mdeg);
	memset(&f->zero, 0, sizeof(f->zero));
}

void fusion_output(const struct fusion *f, uint32_t now_ms, struct tonemap_in *out)
{
	bool cam = fusion_cam_active(f, now_ms);

	if (cam) {
		out->el_err_mdeg = (int32_t)lroundf(f->est_el);
		out->az_err_mdeg = (int32_t)lroundf(f->est_az);
	} else {
		float p0 = f->zero.tilt_valid ? f->zero.pitch0_mdeg : 0.0f;

		out->el_err_mdeg = (int32_t)lroundf(f->pitch_mdeg - p0);
		out->az_err_mdeg = 0;
	}
	out->az_valid = cam;
	out->cant_mdeg =
		(int32_t)lroundf(f->cant_mdeg - (f->zero.tilt_valid ? f->zero.cant0_mdeg : 0.0f));
	out->lost = fusion_pi_present(f, now_ms) && !cam;
}
```

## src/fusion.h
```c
/*
 * Aim estimation.
 *
 * Tilt mode: accelerometer + gyro complementary filter gives barrel pitch
 * (high/low) and cant (sideways tilt) relative to the stored zero.
 *
 * Camera mode: the Pi reports where the target card sits relative to the
 * camera axis. Gyro rates carry the estimate between frames, and each frame
 * pulls it back toward the camera's answer, compensating for camera latency
 * by comparing against where the gyro thought we were when the frame was
 * exposed.
 *
 * All vectors are in the gun frame: x = forward (muzzle), y = left, z = up.
 * Pure C for host testing.
 */
#ifndef AUDIOTARGET_FUSION_H_
#define AUDIOTARGET_FUSION_H_

#include <stdbool.h>
#include <stdint.h>

#include "tonemap.h"

#define FUSION_HIST_LEN 64 /* ~640 ms at 100 Hz */

struct fusion_cfg {
	float tilt_alpha;         /* complementary filter gyro weight per step */
	float cam_gain;           /* 0..1 pull toward each camera sample */
	uint32_t cam_timeout_ms;  /* camera sample considered stale after this */
	uint32_t pi_timeout_ms;   /* no Pi messages for this long = Pi absent */
	uint32_t link_latency_ms; /* added to the Pi-reported frame age */
	float bias_rate;          /* online gyro-bias learning rate when still */
	float still_rad_s;        /* below this the gun counts as still */
};

struct fusion_zero {
	bool tilt_valid;
	bool cam_valid;
	float pitch0_mdeg;
	float cant0_mdeg;
	int32_t cam_az0_mdeg;
	int32_t cam_el0_mdeg;
};

struct fusion_hist {
	uint32_t t_ms;
	float i_el; /* integrated pitch-up rotation, mdeg */
	float i_az; /* integrated yaw-right rotation, mdeg */
};

struct fusion {
	struct fusion_cfg cfg;
	struct fusion_zero zero;

	bool tilt_init;
	float pitch_mdeg;
	float cant_mdeg;

	float gyro_bias[3];
	float gyro_lp[3];  /* short-term gyro average */
	bool bias_locked;  /* first bias fix done */
	uint32_t still_ms; /* how long the gun has been still */

	float i_el, i_az;
	struct fusion_hist hist[FUSION_HIST_LEN];
	unsigned int hist_head;
	unsigned int hist_count;

	bool cam_tracking;
	uint32_t last_cam_ms;
	uint32_t last_pi_ms;
	bool pi_seen;
	int32_t last_cam_az, last_cam_el; /* raw target position, for zeroing */
	float est_el, est_az;             /* aim error estimate, mdeg */
};

#define FUSION_ZERO_TILT 0x1
#define FUSION_ZERO_CAM 0x2

void fusion_default_cfg(struct fusion_cfg *cfg);
void fusion_init(struct fusion *f, const struct fusion_cfg *cfg);

/* acc in m/s^2, gyro in rad/s, both in the gun frame. */
void fusion_imu_update(struct fusion *f, const float acc[3], const float gyro[3],
		       uint32_t now_ms, float dt_s);

/* Raw target position from the Pi (relative to the camera axis). */
void fusion_cam_update(struct fusion *f, int32_t az_mdeg, int32_t el_mdeg, uint32_t age_ms,
		       uint32_t now_ms);
/* Any message from the Pi (proves the camera link is alive). */
void fusion_pi_alive(struct fusion *f, uint32_t now_ms);

/* Store the current pose as "on target". Returns FUSION_ZERO_* bits. */
unsigned int fusion_zero(struct fusion *f, uint32_t now_ms);
void fusion_clear_zero(struct fusion *f);

bool fusion_cam_active(const struct fusion *f, uint32_t now_ms);
bool fusion_pi_present(const struct fusion *f, uint32_t now_ms);
bool fusion_is_still(const struct fusion *f, uint32_t min_ms);
void fusion_output(const struct fusion *f, uint32_t now_ms, struct tonemap_in *out);

#endif
```

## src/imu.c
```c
#include "imu.h"

#include <errno.h>

#include <zephyr/device.h>
#include <zephyr/drivers/sensor.h>
#include <zephyr/logging/log.h>

LOG_MODULE_REGISTER(imu, LOG_LEVEL_INF);

#if !DT_NODE_EXISTS(DT_ALIAS(imu0))
#error "Board overlay must define an imu0 alias pointing at a 6-axis accel+gyro sensor"
#endif

static const struct device *const imu = DEVICE_DT_GET(DT_ALIAS(imu0));

static int set_odr(int hz)
{
	struct sensor_value odr = {.val1 = hz};
	int err = sensor_attr_set(imu, SENSOR_CHAN_ACCEL_XYZ, SENSOR_ATTR_SAMPLING_FREQUENCY, &odr);

	if (err == 0) {
		err = sensor_attr_set(imu, SENSOR_CHAN_GYRO_XYZ, SENSOR_ATTR_SAMPLING_FREQUENCY,
				      &odr);
	}
	return err;
}

int imu_init(void)
{
	int err;

	if (!device_is_ready(imu)) {
		LOG_ERR("IMU not ready");
		return -ENODEV;
	}
	err = set_odr(104);
	if (err) {
		/* Some drivers fix ODR at build time; that's fine. */
		LOG_WRN("IMU ODR not set (%d), using driver default", err);
	}
	return 0;
}

int imu_read(float acc[3], float gyro[3])
{
	struct sensor_value a[3], g[3];
	int err = sensor_sample_fetch(imu);

	if (err == 0) {
		err = sensor_channel_get(imu, SENSOR_CHAN_ACCEL_XYZ, a);
	}
	if (err == 0) {
		err = sensor_channel_get(imu, SENSOR_CHAN_GYRO_XYZ, g);
	}
	if (err) {
		return err;
	}
	for (int i = 0; i < 3; i++) {
		acc[i] = sensor_value_to_float(&a[i]);
		gyro[i] = sensor_value_to_float(&g[i]);
	}
	return 0;
}

void imu_suspend(void)
{
	(void)set_odr(0);
}
```

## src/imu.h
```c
#ifndef AUDIOTARGET_IMU_H_
#define AUDIOTARGET_IMU_H_

int imu_init(void);
/* Raw sensor-frame readings: m/s^2 and rad/s. */
int imu_read(float acc[3], float gyro[3]);
/* Put the sensor in power-down (before system off). */
void imu_suspend(void);

#endif
```
